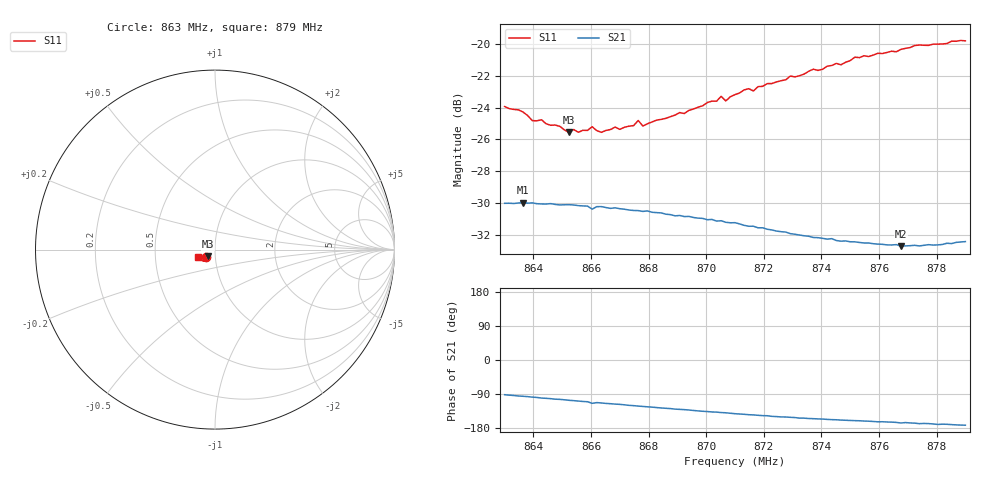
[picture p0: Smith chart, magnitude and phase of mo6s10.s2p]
# HZ S RI R 50
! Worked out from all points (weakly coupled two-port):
!   101 points, 863 MHz to 879 MHz, reference 50 ohm
!   highest |S21| = -29.96 dB at 863.64 MHz (marker M1); lowest = -32.7 dB at 876.76 MHz (marker M2)
!   lowest |S11| = -25.6 dB at 865.24 MHz (marker M3), VSWR 1.11, Z = 46.2 - j3.42 ohm
!   |S11| at or under -10 dB: start of sweep to end of sweep
!   S12 and S22 are empty: the file has one direction only
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8.63e8  -0.05 -0.0393  -0.000877 -0.0316  0 0  0 0
8.6364e8  -0.0469 -0.0392  -0.00316 -0.0316  0 0  0 0
8.6396e8  -0.0432 -0.0378  -0.0044 -0.0314  0 0  0 0
8.6428e8  -0.0432 -0.0384  -0.00569 -0.0309  0 0  0 0
8.6524e8  -0.0377 -0.0369  -0.00882 -0.03  0 0  0 0
8.6572e8  -0.0358 -0.0398  -0.0103 -0.0292  0 0  0 0
8.6604e8  -0.0366 -0.041  -0.0125 -0.0276  0 0  0 0
8.6636e8  -0.0345 -0.0399  -0.0122 -0.0283  0 0  0 0
8.6748e8  -0.0314 -0.0456  -0.0152 -0.0258  0 0  0 0
8.6764e8  -0.0327 -0.0473  -0.0157 -0.0255  0 0  0 0
8.678e8  -0.0314 -0.0454  -0.016 -0.0251  0 0  0 0
8.6844e8  -0.0304 -0.0493  -0.0176 -0.0237  0 0  0 0
8.7036e8  -0.0347 -0.0563  -0.0205 -0.0188  0 0  0 0
8.7052e8  -0.037 -0.0576  -0.0209 -0.0184  0 0  0 0
8.7068e8  -0.0345 -0.0566  -0.0209 -0.018  0 0  0 0
8.71e8  -0.0369 -0.0587  -0.0215 -0.017  0 0  0 0
8.7372e8  -0.0515 -0.0655  -0.0223 -0.0105  0 0  0 0
8.7468e8  -0.0587 -0.0628  -0.0224 -0.00878  0 0  0 0
8.7516e8  -0.0643 -0.0642  -0.0225 -0.00816  0 0  0 0
8.7644e8  -0.0735 -0.06  -0.0225 -0.00646  0 0  0 0
8.7676e8  -0.0773 -0.0571  -0.0225 -0.00551  0 0  0 0
8.79e8  -0.0925 -0.0435  -0.0237 -0.00332  0 0  0 0
